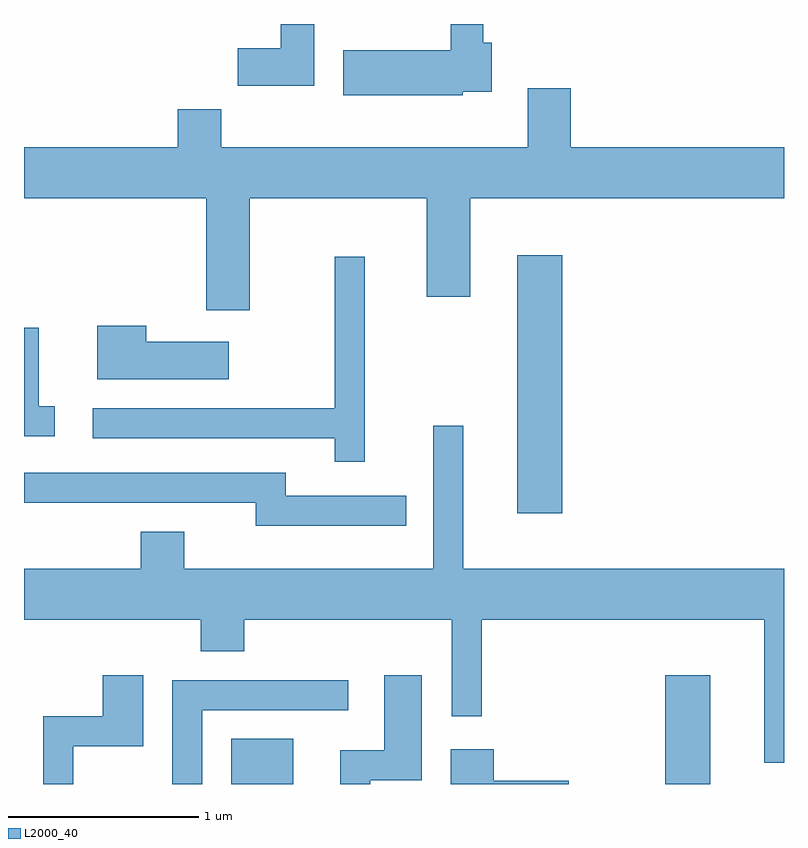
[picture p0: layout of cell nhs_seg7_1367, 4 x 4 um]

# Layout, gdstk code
import gdstk
lib = gdstk.Library(unit=1e-6, precision=1e-09)
def R(c, l, rs):  # rectangles x0, y0, x1, y1
    for r in rs: c.add(gdstk.rectangle(r[:2], r[2:], *l))
def P(c, l, *ps):  # polygons
    for p in ps: c.add(gdstk.Polygon(p, *l))
L2000_40 = (2000, 40)

nhs_seg7_1367 = lib.new_cell('nhs_seg7_1367')
R(nhs_seg7_1367, L2000_40, [(226.701,1802.252,227.029,1802.489), (228.986,1802.252,229.224,1802.824), (228.206,1803.676,228.444,1805.034)])
P(nhs_seg7_1367, L2000_40, [(227.919,1805.896),(228.074,1805.896),(228.074,1806.154),(228.029,1806.154),(228.029,1806.252),(227.856,1806.252),(227.856,1806.114),(227.291,1806.114),(227.291,1805.876),(227.919,1805.876)],
  [(227.139,1806.252),(226.961,1806.252),(226.961,1806.124),(226.736,1806.124),(226.736,1805.926),(227.139,1805.926)],
  [(226.799,1805.336),(227.731,1805.336),(227.731,1804.816),(227.959,1804.816),(227.959,1805.336),(229.611,1805.336),(229.611,1805.604),(228.489,1805.604),(228.489,1805.914),(228.261,1805.914),(228.261,1805.604),(226.649,1805.604),(226.649,1805.804),(226.421,1805.804),(226.421,1805.604),(225.611,1805.604),(225.611,1805.336),(226.571,1805.336),(226.571,1804.746),(226.799,1804.746)],
  [(227.404,1805.028),(227.246,1805.028),(227.246,1804.229),(225.973,1804.229),(225.973,1804.071),(227.246,1804.071),(227.246,1803.948),(227.404,1803.948)],
  [(226.689,1804.579),(226.254,1804.579),(226.254,1804.664),(225.996,1804.664),(225.996,1804.381),(226.689,1804.381)],
  [(225.773,1804.239),(225.689,1804.239),(225.689,1804.654),(225.611,1804.654),(225.611,1804.081),(225.773,1804.081)],
  [(229.611,1803.384),(227.924,1803.384),(227.924,1804.138),(227.766,1804.138),(227.766,1803.384),(226.454,1803.384),(226.454,1803.579),(226.226,1803.579),(226.226,1803.384),(225.611,1803.384),(225.611,1803.116),(226.541,1803.116),(226.541,1802.951),(226.769,1802.951),(226.769,1803.116),(227.861,1803.116),(227.861,1802.608),(228.019,1802.608),(228.019,1803.116),(229.506,1803.116),(229.506,1802.363),(229.611,1802.363)],
  [(227.623,1803.769),(226.989,1803.769),(226.989,1803.889),(225.611,1803.889),(225.611,1803.731),(226.831,1803.731),(226.831,1803.611),(227.623,1803.611)],
  [(225.869,1802.451),(226.239,1802.451),(226.239,1802.824),(226.026,1802.824),(226.026,1802.609),(225.711,1802.609),(225.711,1802.252),(225.869,1802.252)],
  [(227.434,1802.271),(227.704,1802.271),(227.704,1802.824),(227.506,1802.824),(227.506,1802.429),(227.276,1802.429),(227.276,1802.252),(227.434,1802.252)],
  [(226.549,1802.641),(227.318,1802.641),(227.318,1802.799),(226.391,1802.799),(226.391,1802.252),(226.549,1802.252)],
  [(228.479,1802.269),(228.084,1802.269),(228.084,1802.434),(227.856,1802.434),(227.856,1802.252),(228.479,1802.252)])

lib.write_gds('nhs_seg7_1367.gds')
